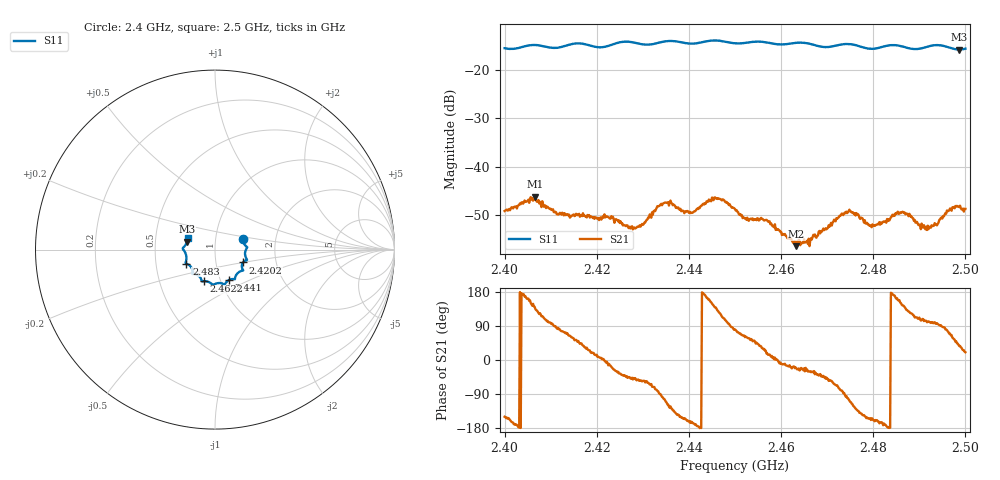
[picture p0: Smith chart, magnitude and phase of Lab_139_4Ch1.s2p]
# Hz S RI R 50
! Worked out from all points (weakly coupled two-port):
!   601 points, 2.4 GHz to 2.5 GHz, reference 50 ohm
!   highest |S21| = -46.12 dB at 2.4067 GHz (marker M1); lowest = -56.3 dB at 2.4633 GHz (marker M2)
!   lowest |S11| = -15.8 dB at 2.4987 GHz (marker M3), VSWR 1.39, Z = 36.4 + j3.33 ohm
!   |S11| at or under -10 dB: start of sweep to end of sweep
!   S12 and S22 are empty: the file has one direction only
!   S11 on the Smith chart (normalised r, x): 2.4 GHz: 1.36, +0.17; 2.4202 GHz: 1.35, -0.20; 2.441 GHz: 1.09, -0.39; 2.4622 GHz: 0.83, -0.30; 2.483 GHz: 0.72, -0.12; 2.5 GHz: 0.73, +0.10
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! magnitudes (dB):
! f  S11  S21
! 2.4 GHz  -15.5  -49.1
! 2.4067 GHz  -14.9  -46.1
! 2.4113 GHz  -15.5  -49.8
! 2.4167 GHz  -14.6  -49.9
! 2.4202 GHz  -15.3  -50.7
! 2.4283 GHz  -14.4  -52.7
! 2.4333 GHz  -14.4  -48.1
! 2.441 GHz  -14.6  -49.3
! 2.4455 GHz  -13.9  -46.4
! 2.45 GHz  -14.5  -48.7
! 2.457 GHz  -14.4  -51.1
! 2.4622 GHz  -14.6  -54.8
! 2.4633 GHz  -14.4  -56.3
! 2.4667 GHz  -14.7  -55.0
! 2.4747 GHz  -14.7  -49.1
! 2.4793 GHz  -15.7  -52.0
! 2.483 GHz  -15.0  -50.7
! 2.4833 GHz  -15.0  -50.8
! 2.4863 GHz  -15.2  -49.3
! 2.4917 GHz  -15.2  -53.0
! 2.4987 GHz  -15.8  -48.3
! 2.5 GHz  -15.6  -48.7
